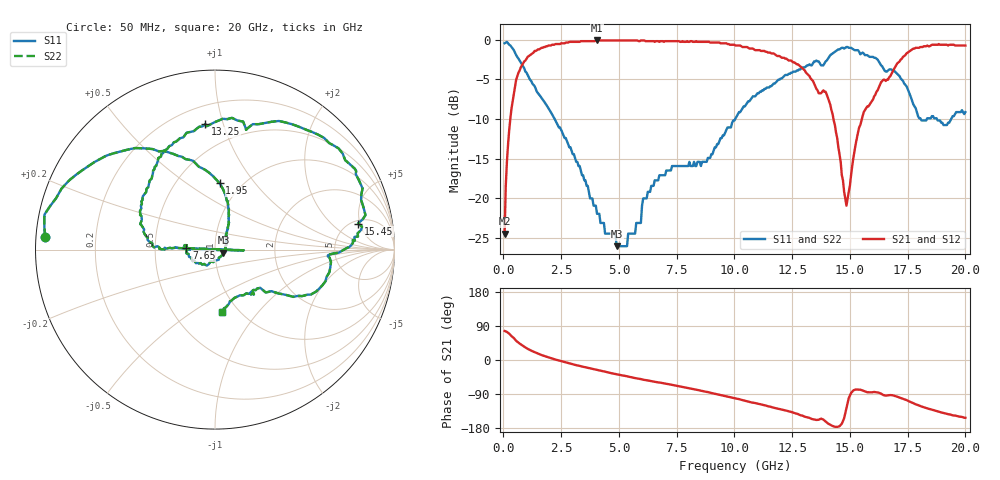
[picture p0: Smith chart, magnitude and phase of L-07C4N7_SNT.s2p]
#	mhz	s	ma	r	50
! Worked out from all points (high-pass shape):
!   400 points, 50 MHz to 20 GHz, reference 50 ohm
!   highest |S21| = -0.09 dB at 4.05 GHz (marker M1); lowest = -24.4 dB at 50 MHz (marker M2)
!   |S21| within 3 dB of the highest: 827.3 MHz to 12.7 GHz (11.87 GHz wide, 176 % of centre); 17.03 GHz to end of sweep
!   lowest |S11| = -26.0 dB at 4.9 GHz (marker M3), VSWR 1.11, Z = 54.9 - j1.82 ohm
!   |S11| at or under -10 dB: 2.219 GHz to 10.03 GHz (7.813 GHz wide, 128 % of centre); 18.07 GHz to 18.33 GHz (262.6 MHz wide, 1.44 % of centre); 18.77 GHz to 19.38 GHz (612.6 MHz wide, 3.21 % of centre)
!   |S22| runs from -26.0 to -0.3 dB; largest |S21 - S12| = 0
!   S11 on the Smith chart (normalised r, x): 50 MHz: 0.03, +0.04; 1.95 GHz: 0.80, +0.68; 7.65 GHz: 0.72, +0.01; 13.25 GHz: 0.32, +0.87; 15.45 GHz: 5.53, +4.66; 20 GHz: 0.84, -0.67
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50  0.95 175.8  0.06 76.7  0.06 76.7  0.95 175.8
200  0.95 165.2  0.22 71.8  0.22 71.8  0.95 165.2
550  0.8 139.1  0.56 50.6  0.56 50.6  0.8 139.1
1150  0.56 111.4  0.8 26.3  0.8 26.3  0.56 111.4
1950  0.37 86.0  0.92 7.0  0.92 7.0  0.37 86.0
3400  0.14 59.8  0.98 -17.2  0.98 -17.2  0.14 59.8
4050  0.08 40.4  0.99 -26.3  0.99 -26.3  0.08 40.4
4900  0.05 -19.3  0.99 -37.6  0.99 -37.6  0.05 -19.3
6700  0.13 -151.6  0.98 -59.0  0.98 -59.0  0.13 -151.6
7550  0.16 -179.8  0.98 -68.6  0.98 -68.6  0.16 -179.8
7600  0.16 -1.4  0.98 -69.2  0.98 -69.2  0.16 -1.4
7650  0.16 176.9  0.97 -69.7  0.97 -69.7  0.16 176.9
10050  0.32 176.6  0.92 -101.7  0.92 -101.7  0.32 176.6
11400  0.5 143.6  0.84 -121.0  0.84 -121.0  0.5 143.6
13250  0.7 94.4  0.59 -152.8  0.59 -152.8  0.7 94.4
13350  0.69 93.6  0.56 -155.7  0.56 -155.7  0.69 93.6
14150  0.8 63.6  0.39 -170.8  0.39 -170.8  0.8 63.6
14850  0.9 30.0  0.09 -127.6  0.09 -127.6  0.9 30.0
15450  0.81 10.3  0.29 -78.3  0.29 -78.3  0.81 10.3
16700  0.65 -6.2  0.58 -92.9  0.58 -92.9  0.65 -6.2
17750  0.39 -36.4  0.88 -114.0  0.88 -114.0  0.39 -36.4
20000  0.35 -83.5  0.92 -152.6  0.92 -152.6  0.35 -83.5
